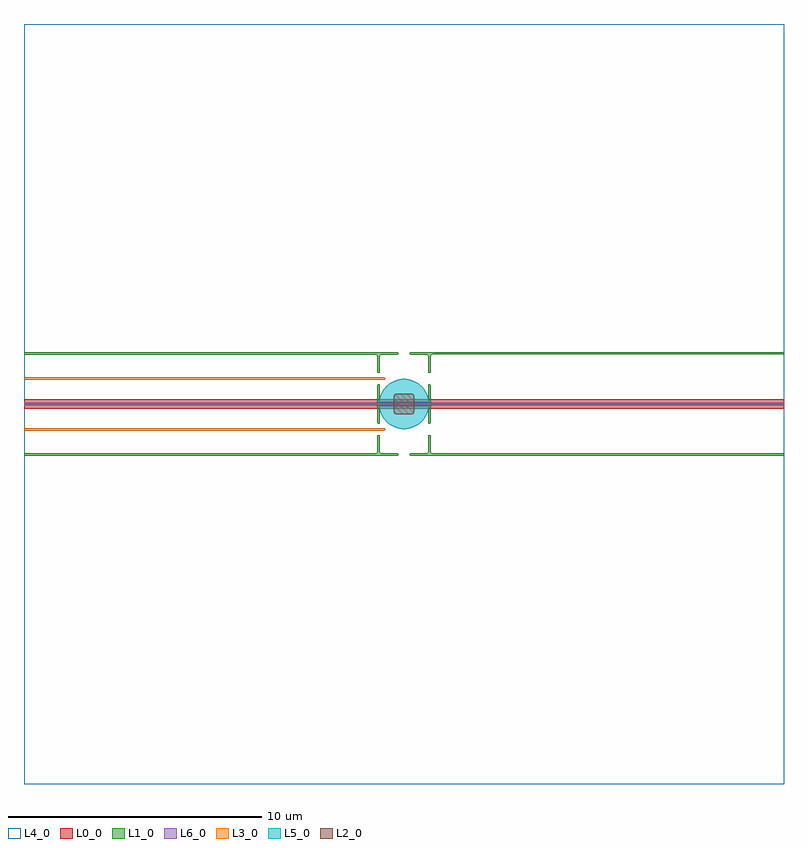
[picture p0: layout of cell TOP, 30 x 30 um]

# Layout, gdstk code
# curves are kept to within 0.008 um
import gdstk
lib = gdstk.Library(unit=1e-6, precision=1e-09)
def R(c, l, rs):  # rectangles x0, y0, x1, y1
    for r in rs: c.add(gdstk.rectangle(r[:2], r[2:], *l))
def P(c, l, *ps):  # polygons
    for p in ps: c.add(gdstk.Polygon(p, *l))
L0_0 = (0, 0)
L1_0 = (1, 0)
L2_0 = (2, 0)
L3_0 = (3, 0)
L4_0 = (4, 0)
L5_0 = (5, 0)
L6_0 = (6, 0)

top = lib.new_cell('TOP')
R(top, L0_0, [(-15,-0.194,15,0.194)])
P(top, L1_0, [(-14.957,-2.05),(-14.984,-2.037),(-15,-2.007),(-14.987,-1.966),(-14.957,-1.95),(-1.113,-1.95),(-1.072,-1.933),(-1.051,-1.894),(-1.05,-1.268),(-1.037,-1.241),(-1.007,-1.225),(-0.966,-1.238),(-0.95,-1.268),(-0.95,-1.887),(-0.928,-1.933),(-0.887,-1.95),(-0.268,-1.95),(-0.241,-1.963),(-0.225,-1.993),(-0.238,-2.034),(-0.268,-2.05)],
  [(0.268,-2.05),(0.241,-2.037),(0.225,-2.007),(0.238,-1.966),(0.268,-1.95),(0.887,-1.95),(0.933,-1.928),(0.95,-1.887),(0.95,-1.268),(0.963,-1.241),(0.993,-1.225),(1.034,-1.238),(1.05,-1.268),(1.051,-1.894),(1.072,-1.933),(1.113,-1.95),(14.957,-1.95),(14.984,-1.963),(15,-1.993),(14.987,-2.034),(14.957,-2.05)],
  [(-1.007,-0.775),(-1.034,-0.762),(-1.05,-0.732),(-1.051,-0.106),(-1.072,-0.067),(-1.113,-0.05),(-14.957,-0.05),(-14.987,-0.034),(-15,0.007),(-14.987,0.034),(-14.957,0.05),(-1.113,0.05),(-1.072,0.067),(-1.051,0.106),(-1.05,0.732),(-1.034,0.762),(-0.993,0.775),(-0.966,0.762),(-0.95,0.732),(-0.95,0.113),(-0.933,0.072),(-0.887,0.05),(-0.268,0.05),(-0.238,0.034),(-0.225,-0.007),(-0.238,-0.034),(-0.268,-0.05),(-0.887,-0.05),(-0.928,-0.067),(-0.95,-0.113),(-0.95,-0.732),(-0.966,-0.762)],
  [(0.993,-0.775),(0.966,-0.762),(0.95,-0.732),(0.95,-0.113),(0.933,-0.072),(0.887,-0.05),(0.268,-0.05),(0.241,-0.037),(0.225,-0.007),(0.238,0.034),(0.268,0.05),(0.887,0.05),(0.933,0.072),(0.95,0.113),(0.95,0.732),(0.963,0.759),(0.993,0.775),(1.034,0.762),(1.05,0.732),(1.051,0.106),(1.072,0.067),(1.113,0.05),(14.957,0.05),(14.984,0.037),(15,0.007),(14.987,-0.034),(14.957,-0.05),(1.113,-0.05),(1.072,-0.067),(1.051,-0.106),(1.05,-0.732),(1.034,-0.762)],
  [(-1.007,1.225),(-1.034,1.238),(-1.05,1.268),(-1.051,1.894),(-1.072,1.933),(-1.113,1.95),(-14.957,1.95),(-14.987,1.966),(-15,2.007),(-14.987,2.034),(-14.957,2.05),(-0.268,2.05),(-0.241,2.037),(-0.225,2.007),(-0.238,1.966),(-0.268,1.95),(-0.887,1.95),(-0.933,1.928),(-0.95,1.887),(-0.95,1.268),(-0.966,1.238)],
  [(0.993,1.225),(0.966,1.238),(0.95,1.268),(0.95,1.887),(0.933,1.928),(0.887,1.95),(0.268,1.95),(0.241,1.963),(0.225,1.993),(0.238,2.034),(0.268,2.05),(14.957,2.05),(14.984,2.037),(15,2.007),(14.987,1.966),(14.957,1.95),(1.113,1.95),(1.072,1.933),(1.051,1.894),(1.05,1.268),(1.034,1.238)])
P(top, L2_0, [(-0.305,-0.4),(-0.367,-0.374),(-0.391,-0.343),(-0.4,-0.305),(-0.4,0.305),(-0.374,0.367),(-0.343,0.391),(-0.305,0.4),(0.305,0.4),(0.367,0.374),(0.391,0.343),(0.4,0.305),(0.4,-0.305),(0.374,-0.367),(0.343,-0.391),(0.305,-0.4)])
P(top, L3_0, [(-14.957,-1.05),(-14.984,-1.037),(-15,-1.007),(-14.987,-0.966),(-14.957,-0.95),(-0.793,-0.95),(-0.766,-0.963),(-0.75,-0.993),(-0.763,-1.034),(-0.793,-1.05)],
  [(-14.957,0.95),(-14.984,0.963),(-15,0.993),(-14.987,1.034),(-14.957,1.05),(-0.793,1.05),(-0.766,1.037),(-0.75,1.007),(-0.763,0.966),(-0.793,0.95)])
R(top, L4_0, [(-15,-15,15,15)])
P(top, L5_0, [(-0.024,-0.99),(-0.169,-0.976),(-0.356,-0.924),(-0.53,-0.837),(-0.683,-0.717),(-0.81,-0.57),(-0.885,-0.445),(-0.954,-0.264),(-0.988,-0.065),(0.988,-0.065),(0.954,-0.264),(0.885,-0.445),(0.781,-0.609),(0.647,-0.75),(0.53,-0.837),(0.356,-0.924),(0.169,-0.976)],
  [(-0.988,0.065),(-0.954,0.264),(-0.885,0.445),(-0.81,0.57),(-0.683,0.717),(-0.53,0.837),(-0.356,0.924),(-0.169,0.976),(-0.024,0.99),(0.169,0.976),(0.356,0.924),(0.53,0.837),(0.647,0.75),(0.781,0.609),(0.885,0.445),(0.954,0.264),(0.988,0.073)])
R(top, L6_0, [(-15,-0.055,15,0.055)])

lib.write_gds('TOP.gds')
